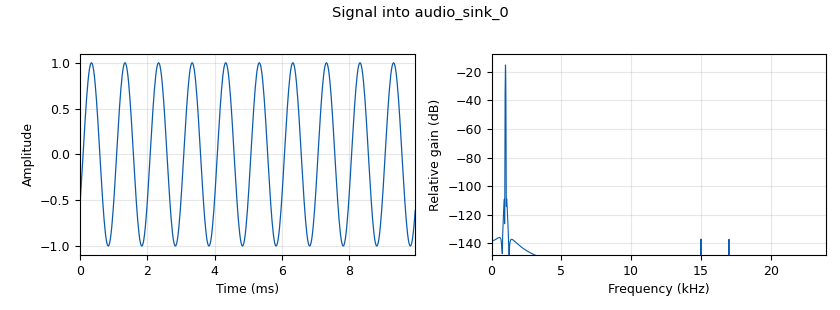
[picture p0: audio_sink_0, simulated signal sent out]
<?xml version='1.0' encoding='utf-8'?>
<flow_graph>
<block>
<key>variable_slider</key>
<param><key>id</key><value>freq</value></param>
<param><key>label</key><value></value></param>
<param><key>value</key><value>1e3</value></param>
<param><key>min</key><value>0</value></param>
<param><key>max</key><value>10e3</value></param>
<param><key>num_steps</key><value>1000</value></param>
<param><key>style</key><value>wx.SL_HORIZONTAL</value></param>
<param><key>converver</key><value>float_converter</value></param>
</block>
<block>
<key>variable</key>
<param><key>id</key><value>samp_rate</value></param>
<param><key>value</key><value>48000</value></param>
</block>
<block>
<key>analog_sig_source_x</key>
<param><key>id</key><value>analog_sig_source_x_0</value></param>
<param><key>type</key><value>float</value></param>
<param><key>samp_rate</key><value>samp_rate</value></param>
<param><key>waveform</key><value>analog.GR_COS_WAVE</value></param>
<param><key>freq</key><value>freq</value></param>
<param><key>amp</key><value>1</value></param>
<param><key>offset</key><value>0</value></param>
</block>
<block>
<key>audio_sink</key>
<param><key>id</key><value>audio_sink_0</value></param>
<param><key>samp_rate</key><value>samp_rate</value></param>
</block>
<block>
<key>options</key>
<param><key>id</key><value>audio_0_top_block</value></param>
<param><key>author</key><value>Wylie Standage-Beier</value></param>
<param><key>generate_options</key><value>wx_gui</value></param>
<param><key>category</key><value>Custom</value></param>
</block>
<connection><source_block_id>analog_sig_source_x_0</source_block_id><sink_block_id>audio_sink_0</sink_block_id><source_key>0</source_key><sink_key>0</sink_key></connection>
</flow_graph>
